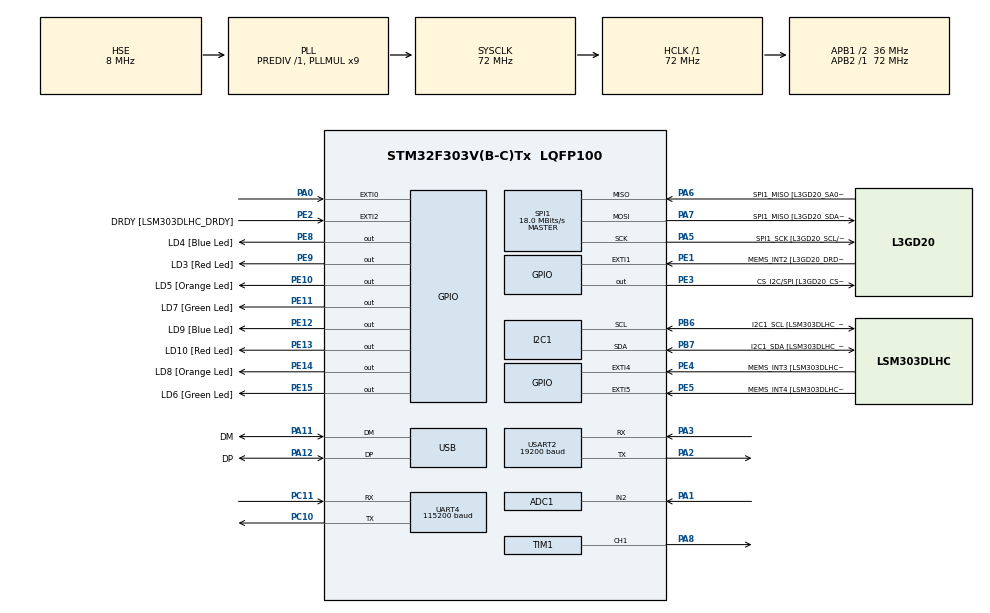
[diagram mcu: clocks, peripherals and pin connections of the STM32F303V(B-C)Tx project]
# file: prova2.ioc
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ADC1.Channel-0\#ChannelRegularConversion=ADC_CHANNEL_2
ADC1.NbrOfConversionFlag=1
ADC1.Offset-0\#ChannelRegularConversion=0
ADC1.OffsetNumber-0\#ChannelRegularConversion=ADC_OFFSET_NONE
ADC1.Rank-0\#ChannelRegularConversion=1
ADC1.SamplingTime-0\#ChannelRegularConversion=ADC_SAMPLETIME_1CYCLE_5
ADC1.master=1
I2C1.Timing=0x00201D2B
I2C1.Timing-I2C=0x2000090E
Mcu.Family=STM32F3
Mcu.Name=STM32F303V(B-C)Tx
Mcu.Package=LQFP100
NVIC.ADC1_2_IRQn=true\:0\:0\:false\:false\:true\:true\:true\:true
NVIC.EXTI0_IRQn=true\:0\:0\:false\:false\:true\:true\:true\:true
NVIC.PriorityGroup=NVIC_PRIORITYGROUP_0
NVIC.TIM4_IRQn=true\:0\:0\:false\:false\:true\:true\:true\:true
NVIC.UART4_IRQn=true\:0\:0\:false\:false\:true\:true\:true\:true
PA0.Signal=GPXTI0
PA1.Mode=IN2-Single-Ended
PA1.Signal=ADC1_IN2
PA11.GPIO_Label=DM
PA11.Mode=Device
PA11.Signal=USB_DM
PA12.GPIO_Label=DP
PA12.Mode=Device
PA12.Signal=USB_DP
PA13.GPIO_Label=SWDIO
PA13.Mode=Serial_Wire
PA13.Signal=SYS_JTMS-SWDIO
PA14.GPIO_Label=SWCLK
PA14.Mode=Serial_Wire
PA14.Signal=SYS_JTCK-SWCLK
PA2.Mode=Asynchronous
PA2.Signal=USART2_TX
PA3.Mode=Asynchronous
PA3.Signal=USART2_RX
PA5.GPIO_Label=SPI1_SCK [L3GD20_SCL/SPC]
PA5.Mode=Full_Duplex_Master
PA5.Signal=SPI1_SCK
PA6.GPIO_Label=SPI1_MISO [L3GD20_SA0/SDO]
PA6.Mode=Full_Duplex_Master
PA6.Signal=SPI1_MISO
PA7.GPIO_Label=SPI1_MISO [L3GD20_SDA/SDI/SDO]
PA7.Mode=Full_Duplex_Master
PA7.Signal=SPI1_MOSI
PA8.Signal=S_TIM1_CH1
PB3.GPIO_Label=SWO
PB3.Signal=SYS_JTDO-TRACESWO
PB6.GPIO_Label=I2C1_SCL [LSM303DLHC_SCL]
PB6.GPIO_Pu=GPIO_PULLUP
PB6.Mode=I2C
PB6.Signal=I2C1_SCL
PB7.GPIO_Label=I2C1_SDA [LSM303DLHC_SDA]
PB7.GPIO_Pu=GPIO_PULLUP
PB7.Mode=I2C
PB7.Signal=I2C1_SDA
PC10.Mode=Asynchronous
PC10.Signal=UART4_TX
PC11.Mode=Asynchronous
PC11.Signal=UART4_RX
PC14-OSC32_IN.GPIO_Label=OSC32_IN
PC14-OSC32_IN.Signal=RCC_OSC32_IN
PC15-OSC32_OUT.GPIO_Label=OSC32_OUT
PC15-OSC32_OUT.Signal=RCC_OSC32_OUT
PE1.GPIO_Label=MEMS_INT2 [L3GD20_DRDY/INT2]
PE1.GPIO_ModeDefaultEXTI=GPIO_MODE_EVT_RISING
PE1.Signal=GPXTI1
PE10.GPIO_Label=LD5 [Orange Led]
PE10.Signal=GPIO_Output
PE11.GPIO_Label=LD7 [Green Led]
PE11.Signal=GPIO_Output
PE12.GPIO_Label=LD9 [Blue Led]
PE12.Signal=GPIO_Output
PE13.GPIO_Label=LD10 [Red Led]
PE13.Signal=GPIO_Output
PE14.GPIO_Label=LD8 [Orange Led]
PE14.Signal=GPIO_Output
PE15.GPIO_Label=LD6 [Green Led]
PE15.Signal=GPIO_Output
PE2.GPIO_Label=DRDY [LSM303DLHC_DRDY]
PE2.GPIO_ModeDefaultEXTI=GPIO_MODE_EVT_RISING
PE2.Signal=GPXTI2
PE3.GPIO_Label=CS_I2C/SPI [L3GD20_CS_I2C/SPI]
PE3.Signal=GPIO_Output
PE4.GPIO_Label=MEMS_INT3 [LSM303DLHC_INT1]
PE4.GPIO_ModeDefaultEXTI=GPIO_MODE_EVT_RISING
PE4.Signal=GPXTI4
PE5.GPIO_Label=MEMS_INT4 [LSM303DLHC_INT2]
PE5.GPIO_ModeDefaultEXTI=GPIO_MODE_EVT_RISING
PE5.Signal=GPXTI5
PE8.GPIO_Label=LD4 [Blue Led]
PE8.Signal=GPIO_Output
PE9.GPIO_Label=LD3 [Red Led]
PE9.Signal=GPIO_Output
PF0-OSC_IN.GPIO_Label=OSC_IN
PF0-OSC_IN.Mode=HSE-External-Clock-Source
PF0-OSC_IN.Signal=RCC_OSC_IN
PF1-OSC_OUT.GPIO_Label=OSC_OUT
PF1-OSC_OUT.Signal=RCC_OSC_OUT
ProjectManager.HeapSize=0x200
ProjectManager.StackSize=0x400
ProjectManager.TargetToolchain=STM32CubeIDE
RCC.AHBFreq_Value=72000000
RCC.APB1CLKDivider=RCC_HCLK_DIV2
RCC.APB1Freq_Value=36000000
RCC.APB1TimFreq_Value=72000000
RCC.APB2Freq_Value=72000000
RCC.APB2TimFreq_Value=72000000
RCC.CortexFreq_Value=72000000
RCC.HCLKFreq_Value=72000000
RCC.HSE_VALUE=8000000
RCC.HSI_VALUE=8000000
RCC.LSE_VALUE=32768
RCC.PLLMUL=RCC_PLL_MUL9
RCC.PRESCALERUSB=RCC_USBCLKSOURCE_PLL_DIV1_5
RCC.SYSCLKFreq_VALUE=72000000
RCC.SYSCLKSourceVirtual=RCC_SYSCLKSOURCE_PLLCLK
RCC.USBFreq_Value=48000000
SH.S_TIM1_CH1.0=TIM1_CH1,PWM Generation1 CH1
SPI1.BaudRatePrescaler=SPI_BAUDRATEPRESCALER_4
SPI1.BaudRatePrescaler-Full_Duplex_Master=SPI_BAUDRATEPRESCALER_2
SPI1.CalculateBaudRate=18.0 MBits/s
SPI1.CalculateBaudRate-Full_Duplex_Master=24.0 MBits/s
SPI1.Direction=SPI_DIRECTION_2LINES
SPI1.Mode=SPI_MODE_MASTER
SPI1.Mode-Full_Duplex_Master=SPI_MODE_MASTER
SPI1.VirtualType=VM_MASTER
TIM1.Channel-PWM\ Generation1\ CH1=TIM_CHANNEL_1
TIM1.Period=19999
TIM1.Prescaler=71
TIM4.Period=999
TIM4.Prescaler=7199
UART4.BaudRate=115200
USART2.BaudRate=19200
USART2.VirtualMode-Asynchronous=VM_ASYNC
VP_TIM4_VS_ClockSourceINT.Mode=Internal
board=STM32F3DISCOVERY

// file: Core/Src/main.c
/* USER CODE BEGIN Header */
/**
  ******************************************************************************
  * @file           : main.c
  * @brief          : Main program body
  ******************************************************************************
  * @attention
  *
  * Copyright (c) 2025 STMicroelectronics.
  * All rights reserved.
  *
  * This software is licensed under terms that can be found in the LICENSE file
  * in the root directory of this software component.
  * If no LICENSE file comes with this software, it is provided AS-IS.
  *
  ******************************************************************************
  */
/* USER CODE END Header */
#include "main.h"

/* USER CODE BEGIN Includes */
#include <stdio.h>

#include <string.h>
/* USER CODE END Includes */

/* USER CODE BEGIN PD */

#define ACCESO 1
#define SPENTO 0

/* USER CODE END PD */

ADC_HandleTypeDef hadc1;

I2C_HandleTypeDef hi2c1;

SPI_HandleTypeDef hspi1;

TIM_HandleTypeDef htim1;
TIM_HandleTypeDef htim4;

UART_HandleTypeDef huart4;
UART_HandleTypeDef huart2;

PCD_HandleTypeDef hpcd_USB_FS;

/* USER CODE BEGIN PV */

#define RX_BUFFER_SIZE 100
uint8_t rx_buffer[RX_BUFFER_SIZE];
uint8_t rx_index = 0;
uint8_t rx_byte;

GPIO_PinState MODE = 0;
uint32_t adc_val = 0;
float voltage = 0.0f;
uint8_t pbuf = 0;
uint8_t psbuf = '2';
int spegni = 0;
int attesa_reset=0;

// stati dell'automa:
// "reset": stato iniziale; se ADC legge V > 1.0V, passa a "check".
//  "check": invia via UART il carattere '2' (psbuf) e accende LD9, poi si aspetta qualcosa via UART.
//  "aperto": il servo si muove a 120°; se V > 1.0V → si chiude (servo a 0°), poi si attende V < 0.5V per tornare a "reset".
char stato[] = "reset";

uint16_t led_pins[8] = {
    GPIO_PIN_8,   // LD4
    GPIO_PIN_9,   // LD3
    GPIO_PIN_10,  // LD5
    GPIO_PIN_11,  // LD7
    GPIO_PIN_12,  // LD9
    GPIO_PIN_13,  // LD10
    GPIO_PIN_14,  // LD8
    GPIO_PIN_15   // LD6
};

/* USER CODE END PV */

void SystemClock_Config(void);
static void MX_GPIO_Init(void);
static void MX_I2C1_Init(void);
static void MX_SPI1_Init(void);
static void MX_USB_PCD_Init(void);
static void MX_ADC1_Init(void);
static void MX_USART2_UART_Init(void);
static void MX_UART4_Init(void);
static void MX_TIM4_Init(void);
static void MX_TIM1_Init(void);
/* USER CODE BEGIN PFP */

void servo_set_angle(uint8_t angle)
{
    uint16_t pulse = 500 + (angle * 2000) / 180;  // 500â€“2500
    __HAL_TIM_SET_COMPARE(&htim1, TIM_CHANNEL_1, pulse);
}

void HAL_GPIO_EXTI_Callback(uint16_t GPIO_Pin){

		/*
		 *
		 * PREMENDO L'USER BOTTON RIPORTIAMO IL SISTEMA ALLO STATO RESET E ATTIVIAMO IL LED 3
		 * E RESETTIAMO IL VALORE DELL'ANGOLO DEL SERVO MOTORE
		 *
		 */

		strcpy(stato,"reset");
		servo_set_angle(0);

		//HAL_GPIO_WritePin(GPIOE, LD10_Pin, GPIO_PIN_RESET);

}

void HAL_UART_RxCpltCallback(UART_HandleTypeDef *huart){

	//SE TRAMITE UART4 RICEVO IL VALORE CHE MI ASPETTO
	//CAMBIO MODE, QUESTO FA LAMPEGGIARE IL LED PER 2 SECONDI GRAZIE AL CODICE INSERITO NEL MAIN

	//HAL_GPIO_WritePin(GPIOE, LD10_Pin, GPIO_PIN_SET);
	//spegni = 1;

	if (huart == &huart4){

		if(pbuf=='Y'){
			MODE = 1;
			strcpy(stato, "aperto"); //ho aperto, aspetto che l'utente si riavvicini per chiudere
			//facciamo girare il motore
			servo_set_angle(120);
		}
		else{
			MODE = 2;
			strcpy(stato, "reset"); //non apro e ritorno allo stato iniziale.

		}

		HAL_UART_Receive_IT(&huart4,&pbuf, 1); //RIATTIVO INTERRUZIONI IN RICEZIONE

	}

}

// ogni 100ms il timer interrompe e avvia conversione dell'ADC
void HAL_TIM_PeriodElapsedCallback(TIM_HandleTypeDef *htim) {
    if (htim->Instance == TIM4) {
        HAL_ADC_Start_IT(&hadc1);  // Avvio conversione non bloccante
    }
}

void HAL_ADC_ConvCpltCallback(ADC_HandleTypeDef* hadc) {
    if (hadc->Instance == ADC1) {
        uint32_t adc_val = HAL_ADC_GetValue(hadc);
        float voltage = (adc_val / 4095.0f) * 3.3f;

        // Esegui la logica di stato qui (eviti blocchi nell'ISR timer)
        switch (stato[0]) {
            case 'r':

                // soglia oltre 1V -> stiamo rilevando presenza da 5cm in poi
                if (voltage > 1.0f) {
                    strcpy(stato, "check");
                    HAL_GPIO_WritePin(GPIOE, LD9_Pin, GPIO_PIN_SET);

                    // invio carattere tramite uart per avviare il riconoscimento tramite fotocamera
                    HAL_UART_Transmit(&huart4, &psbuf, 1, HAL_MAX_DELAY);
                }
                break;

            case 'c':

                // se ho nuova interruzione e conversione ma sono ancora in stato check non faccio nulla (evitiamo invii multipli alla esp32)
                HAL_GPIO_WritePin(GPIOE, LD9_Pin, GPIO_PIN_RESET);
                break;

                // caso in cui lo stato risulta "aperto"
            case 'a':
                if (!attesa_reset) {
                    if (voltage > 1.0f) {

                        // mi avvicino e faccio chiudere la scatola
                        servo_set_angle(0);
                        attesa_reset = 1;  // ora aspettiamo che la tensione scenda
                    }
                } else {

                    // quando mi sono allontanato torno in stato di reset
                    if (voltage < 0.5f) {
                        attesa_reset = 0;
                        strcpy(stato, "reset");  // solo ora si può resettare
                    }
                }
                break;

            default:
                strcpy(stato, "reset");
                HAL_GPIO_WritePin(GPIOE, LD9_Pin, GPIO_PIN_RESET);
                break;
        }
    }
}

/* USER CODE END PFP */

int main(void)
{

  /* MCU Configuration--------------------------------------------------------*/

  /* Reset of all peripherals, Initializes the Flash interface and the Systick. */
  HAL_Init();

  /* Configure the system clock */
  SystemClock_Config();

  /* Initialize all configured peripherals */
  MX_GPIO_Init();
  MX_I2C1_Init();
  MX_SPI1_Init();
  MX_USB_PCD_Init();
  MX_ADC1_Init();
  MX_USART2_UART_Init();
  MX_UART4_Init();
  MX_TIM4_Init();
  MX_TIM1_Init();
  /* USER CODE BEGIN 2 */
  HAL_TIM_PWM_Start(&htim1, TIM_CHANNEL_1);  // Avvia PWM

HAL_TIM_Base_Start_IT(&htim4);
HAL_UART_Receive_IT(&huart4, &pbuf, 1);
  /* USER CODE END 2 */

  /* Infinite loop */
  /* USER CODE BEGIN WHILE */
  while (1)
  {
	  //servo_set_angle(0);

	  if (MODE == 1) {
	      MODE = 0;
	      HAL_GPIO_WritePin(GPIOE, LD6_Pin, GPIO_PIN_SET);

	      HAL_Delay(2000);
	      HAL_GPIO_WritePin(GPIOE, LD6_Pin, GPIO_PIN_RESET);
	  }
	  if(MODE==2){
		  MODE = 0;
			HAL_GPIO_WritePin(GPIOE, LD3_Pin, ACCESO);

			      HAL_Delay(2000);
			     HAL_GPIO_WritePin(GPIOE, LD3_Pin, SPENTO);
	  }

	  if (spegni == 1){
		  spegni = 0;
		  HAL_Delay(500);
		  HAL_GPIO_WritePin(GPIOE, LD10_Pin, GPIO_PIN_RESET);
	  }

    /* USER CODE END WHILE */

  }
}

void SystemClock_Config(void)
{
  RCC_OscInitTypeDef RCC_OscInitStruct = {0};
  RCC_ClkInitTypeDef RCC_ClkInitStruct = {0};
  RCC_PeriphCLKInitTypeDef PeriphClkInit = {0};

  /** Initializes the RCC Oscillators according to the specified parameters
  * in the RCC_OscInitTypeDef structure.
  */
  RCC_OscInitStruct.OscillatorType = RCC_OSCILLATORTYPE_HSI|RCC_OSCILLATORTYPE_HSE;
  RCC_OscInitStruct.HSEState = RCC_HSE_BYPASS;
  RCC_OscInitStruct.HSEPredivValue = RCC_HSE_PREDIV_DIV1;
  RCC_OscInitStruct.HSIState = RCC_HSI_ON;
  RCC_OscInitStruct.HSICalibrationValue = RCC_HSICALIBRATION_DEFAULT;
  RCC_OscInitStruct.PLL.PLLState = RCC_PLL_ON;
  RCC_OscInitStruct.PLL.PLLSource = RCC_PLLSOURCE_HSE;
  RCC_OscInitStruct.PLL.PLLMUL = RCC_PLL_MUL9;
  if (HAL_RCC_OscConfig(&RCC_OscInitStruct) != HAL_OK)
  {
    Error_Handler();
  }

  /** Initializes the CPU, AHB and APB buses clocks
  */
  RCC_ClkInitStruct.ClockType = RCC_CLOCKTYPE_HCLK|RCC_CLOCKTYPE_SYSCLK
                              |RCC_CLOCKTYPE_PCLK1|RCC_CLOCKTYPE_PCLK2;
  RCC_ClkInitStruct.SYSCLKSource = RCC_SYSCLKSOURCE_PLLCLK;
  RCC_ClkInitStruct.AHBCLKDivider = RCC_SYSCLK_DIV1;
  RCC_ClkInitStruct.APB1CLKDivider = RCC_HCLK_DIV2;
  RCC_ClkInitStruct.APB2CLKDivider = RCC_HCLK_DIV1;

  if (HAL_RCC_ClockConfig(&RCC_ClkInitStruct, FLASH_LATENCY_2) != HAL_OK)
  {
    Error_Handler();
  }
  PeriphClkInit.PeriphClockSelection = RCC_PERIPHCLK_USB|RCC_PERIPHCLK_USART2
                              |RCC_PERIPHCLK_UART4|RCC_PERIPHCLK_I2C1
                              |RCC_PERIPHCLK_TIM1|RCC_PERIPHCLK_ADC12;
  PeriphClkInit.Usart2ClockSelection = RCC_USART2CLKSOURCE_PCLK1;
  PeriphClkInit.Uart4ClockSelection = RCC_UART4CLKSOURCE_PCLK1;
  PeriphClkInit.Adc12ClockSelection = RCC_ADC12PLLCLK_DIV1;
  PeriphClkInit.I2c1ClockSelection = RCC_I2C1CLKSOURCE_HSI;
  PeriphClkInit.USBClockSelection = RCC_USBCLKSOURCE_PLL_DIV1_5;
  PeriphClkInit.Tim1ClockSelection = RCC_TIM1CLK_HCLK;
  if (HAL_RCCEx_PeriphCLKConfig(&PeriphClkInit) != HAL_OK)
  {
    Error_Handler();
  }
}

static void MX_ADC1_Init(void)
{

  ADC_MultiModeTypeDef multimode = {0};
  ADC_ChannelConfTypeDef sConfig = {0};

  /** Common config
  */
  hadc1.Instance = ADC1;
  hadc1.Init.ClockPrescaler = ADC_CLOCK_ASYNC_DIV1;
  hadc1.Init.Resolution = ADC_RESOLUTION_12B;
  hadc1.Init.ScanConvMode = ADC_SCAN_DISABLE;
  hadc1.Init.ContinuousConvMode = DISABLE;
  hadc1.Init.DiscontinuousConvMode = DISABLE;
  hadc1.Init.ExternalTrigConvEdge = ADC_EXTERNALTRIGCONVEDGE_NONE;
  hadc1.Init.ExternalTrigConv = ADC_SOFTWARE_START;
  hadc1.Init.DataAlign = ADC_DATAALIGN_RIGHT;
  hadc1.Init.NbrOfConversion = 1;
  hadc1.Init.DMAContinuousRequests = DISABLE;
  hadc1.Init.EOCSelection = ADC_EOC_SINGLE_CONV;
  hadc1.Init.LowPowerAutoWait = DISABLE;
  hadc1.Init.Overrun = ADC_OVR_DATA_OVERWRITTEN;
  if (HAL_ADC_Init(&hadc1) != HAL_OK)
  {
    Error_Handler();
  }

  /** Configure the ADC multi-mode
  */
  multimode.Mode = ADC_MODE_INDEPENDENT;
  if (HAL_ADCEx_MultiModeConfigChannel(&hadc1, &multimode) != HAL_OK)
  {
    Error_Handler();
  }

  /** Configure Regular Channel
  */
  sConfig.Channel = ADC_CHANNEL_2;
  sConfig.Rank = ADC_REGULAR_RANK_1;
  sConfig.SingleDiff = ADC_SINGLE_ENDED;
  sConfig.SamplingTime = ADC_SAMPLETIME_1CYCLE_5;
  sConfig.OffsetNumber = ADC_OFFSET_NONE;
  sConfig.Offset = 0;
  if (HAL_ADC_ConfigChannel(&hadc1, &sConfig) != HAL_OK)
  {
    Error_Handler();
  }

}

static void MX_I2C1_Init(void)
{

  hi2c1.Instance = I2C1;
  hi2c1.Init.Timing = 0x00201D2B;
  hi2c1.Init.OwnAddress1 = 0;
  hi2c1.Init.AddressingMode = I2C_ADDRESSINGMODE_7BIT;
  hi2c1.Init.DualAddressMode = I2C_DUALADDRESS_DISABLE;
  hi2c1.Init.OwnAddress2 = 0;
  hi2c1.Init.OwnAddress2Masks = I2C_OA2_NOMASK;
  hi2c1.Init.GeneralCallMode = I2C_GENERALCALL_DISABLE;
  hi2c1.Init.NoStretchMode = I2C_NOSTRETCH_DISABLE;
  if (HAL_I2C_Init(&hi2c1) != HAL_OK)
  {
    Error_Handler();
  }

  /** Configure Analogue filter
  */
  if (HAL_I2CEx_ConfigAnalogFilter(&hi2c1, I2C_ANALOGFILTER_ENABLE) != HAL_OK)
  {
    Error_Handler();
  }

  /** Configure Digital filter
  */
  if (HAL_I2CEx_ConfigDigitalFilter(&hi2c1, 0) != HAL_OK)
  {
    Error_Handler();
  }

}

static void MX_SPI1_Init(void)
{

  /* SPI1 parameter configuration*/
  hspi1.Instance = SPI1;
  hspi1.Init.Mode = SPI_MODE_MASTER;
  hspi1.Init.Direction = SPI_DIRECTION_2LINES;
  hspi1.Init.DataSize = SPI_DATASIZE_4BIT;
  hspi1.Init.CLKPolarity = SPI_POLARITY_LOW;
  hspi1.Init.CLKPhase = SPI_PHASE_1EDGE;
  hspi1.Init.NSS = SPI_NSS_SOFT;
  hspi1.Init.BaudRatePrescaler = SPI_BAUDRATEPRESCALER_4;
  hspi1.Init.FirstBit = SPI_FIRSTBIT_MSB;
  hspi1.Init.TIMode = SPI_TIMODE_DISABLE;
  hspi1.Init.CRCCalculation = SPI_CRCCALCULATION_DISABLE;
  hspi1.Init.CRCPolynomial = 7;
  hspi1.Init.CRCLength = SPI_CRC_LENGTH_DATASIZE;
  hspi1.Init.NSSPMode = SPI_NSS_PULSE_ENABLE;
  if (HAL_SPI_Init(&hspi1) != HAL_OK)
  {
    Error_Handler();
  }

}

static void MX_TIM1_Init(void)
{

  TIM_MasterConfigTypeDef sMasterConfig = {0};
  TIM_OC_InitTypeDef sConfigOC = {0};
  TIM_BreakDeadTimeConfigTypeDef sBreakDeadTimeConfig = {0};

  htim1.Instance = TIM1;
  htim1.Init.Prescaler = 71;
  htim1.Init.CounterMode = TIM_COUNTERMODE_UP;
  htim1.Init.Period = 19999;
  htim1.Init.ClockDivision = TIM_CLOCKDIVISION_DIV1;
  htim1.Init.RepetitionCounter = 0;
  htim1.Init.AutoReloadPreload = TIM_AUTORELOAD_PRELOAD_DISABLE;
  if (HAL_TIM_PWM_Init(&htim1) != HAL_OK)
  {
    Error_Handler();
  }
  sMasterConfig.MasterOutputTrigger = TIM_TRGO_RESET;
  sMasterConfig.MasterOutputTrigger2 = TIM_TRGO2_RESET;
  sMasterConfig.MasterSlaveMode = TIM_MASTERSLAVEMODE_DISABLE;
  if (HAL_TIMEx_MasterConfigSynchronization(&htim1, &sMasterConfig) != HAL_OK)
  {
    Error_Handler();
  }
  sConfigOC.OCMode = TIM_OCMODE_PWM1;
  sConfigOC.Pulse = 0;
  sConfigOC.OCPolarity = TIM_OCPOLARITY_HIGH;
  sConfigOC.OCNPolarity = TIM_OCNPOLARITY_HIGH;
  sConfigOC.OCFastMode = TIM_OCFAST_DISABLE;
  sConfigOC.OCIdleState = TIM_OCIDLESTATE_RESET;
  sConfigOC.OCNIdleState = TIM_OCNIDLESTATE_RESET;
  if (HAL_TIM_PWM_ConfigChannel(&htim1, &sConfigOC, TIM_CHANNEL_1) != HAL_OK)
  {
    Error_Handler();
  }
  sBreakDeadTimeConfig.OffStateRunMode = TIM_OSSR_DISABLE;
  sBreakDeadTimeConfig.OffStateIDLEMode = TIM_OSSI_DISABLE;
  sBreakDeadTimeConfig.LockLevel = TIM_LOCKLEVEL_OFF;
  sBreakDeadTimeConfig.DeadTime = 0;
  sBreakDeadTimeConfig.BreakState = TIM_BREAK_DISABLE;
  sBreakDeadTimeConfig.BreakPolarity = TIM_BREAKPOLARITY_HIGH;
  sBreakDeadTimeConfig.BreakFilter = 0;
  sBreakDeadTimeConfig.Break2State = TIM_BREAK2_DISABLE;
  sBreakDeadTimeConfig.Break2Polarity = TIM_BREAK2POLARITY_HIGH;
  sBreakDeadTimeConfig.Break2Filter = 0;
  sBreakDeadTimeConfig.AutomaticOutput = TIM_AUTOMATICOUTPUT_DISABLE;
  if (HAL_TIMEx_ConfigBreakDeadTime(&htim1, &sBreakDeadTimeConfig) != HAL_OK)
  {
    Error_Handler();
  }
  HAL_TIM_MspPostInit(&htim1);

}

static void MX_TIM4_Init(void)
{

  TIM_ClockConfigTypeDef sClockSourceConfig = {0};
  TIM_MasterConfigTypeDef sMasterConfig = {0};

  htim4.Instance = TIM4;
  htim4.Init.Prescaler = 7199;
  htim4.Init.CounterMode = TIM_COUNTERMODE_UP;
  htim4.Init.Period = 999;
  htim4.Init.ClockDivision = TIM_CLOCKDIVISION_DIV1;
  htim4.Init.AutoReloadPreload = TIM_AUTORELOAD_PRELOAD_DISABLE;
  if (HAL_TIM_Base_Init(&htim4) != HAL_OK)
  {
    Error_Handler();
  }
  sClockSourceConfig.ClockSource = TIM_CLOCKSOURCE_INTERNAL;
  if (HAL_TIM_ConfigClockSource(&htim4, &sClockSourceConfig) != HAL_OK)
  {
    Error_Handler();
  }
  sMasterConfig.MasterOutputTrigger = TIM_TRGO_RESET;
  sMasterConfig.MasterSlaveMode = TIM_MASTERSLAVEMODE_DISABLE;
  if (HAL_TIMEx_MasterConfigSynchronization(&htim4, &sMasterConfig) != HAL_OK)
  {
    Error_Handler();
  }

}

static void MX_UART4_Init(void)
{

  huart4.Instance = UART4;
  huart4.Init.BaudRate = 115200;
  huart4.Init.WordLength = UART_WORDLENGTH_8B;
  huart4.Init.StopBits = UART_STOPBITS_1;
  huart4.Init.Parity = UART_PARITY_NONE;
  huart4.Init.Mode = UART_MODE_TX_RX;
  huart4.Init.HwFlowCtl = UART_HWCONTROL_NONE;
  huart4.Init.OverSampling = UART_OVERSAMPLING_16;
  huart4.Init.OneBitSampling = UART_ONE_BIT_SAMPLE_DISABLE;
  huart4.AdvancedInit.AdvFeatureInit = UART_ADVFEATURE_NO_INIT;
  if (HAL_UART_Init(&huart4) != HAL_OK)
  {
    Error_Handler();
  }

}

static void MX_USART2_UART_Init(void)
{

  huart2.Instance = USART2;
  huart2.Init.BaudRate = 19200;
  huart2.Init.WordLength = UART_WORDLENGTH_8B;
  huart2.Init.StopBits = UART_STOPBITS_1;
  huart2.Init.Parity = UART_PARITY_NONE;
  huart2.Init.Mode = UART_MODE_TX_RX;
  huart2.Init.HwFlowCtl = UART_HWCONTROL_NONE;
  huart2.Init.OverSampling = UART_OVERSAMPLING_16;
  huart2.Init.OneBitSampling = UART_ONE_BIT_SAMPLE_DISABLE;
  huart2.AdvancedInit.AdvFeatureInit = UART_ADVFEATURE_NO_INIT;
  if (HAL_UART_Init(&huart2) != HAL_OK)
  {
    Error_Handler();
  }

}

static void MX_USB_PCD_Init(void)
{

  hpcd_USB_FS.Instance = USB;
  hpcd_USB_FS.Init.dev_endpoints = 8;
  hpcd_USB_FS.Init.speed = PCD_SPEED_FULL;
  hpcd_USB_FS.Init.phy_itface = PCD_PHY_EMBEDDED;
  hpcd_USB_FS.Init.low_power_enable = DISABLE;
  hpcd_USB_FS.Init.battery_charging_enable = DISABLE;
  if (HAL_PCD_Init(&hpcd_USB_FS) != HAL_OK)
  {
    Error_Handler();
  }

}

static void MX_GPIO_Init(void)
{
  GPIO_InitTypeDef GPIO_InitStruct = {0};

  /* GPIO Ports Clock Enable */
  __HAL_RCC_GPIOE_CLK_ENABLE();
  __HAL_RCC_GPIOC_CLK_ENABLE();
  __HAL_RCC_GPIOF_CLK_ENABLE();
  __HAL_RCC_GPIOA_CLK_ENABLE();
  __HAL_RCC_GPIOB_CLK_ENABLE();

  /*Configure GPIO pin Output Level */
  HAL_GPIO_WritePin(GPIOE, CS_I2C_SPI_Pin|LD4_Pin|LD3_Pin|LD5_Pin
                          |LD7_Pin|LD9_Pin|LD10_Pin|LD8_Pin
                          |LD6_Pin, GPIO_PIN_RESET);

  /*Configure GPIO pins : DRDY_Pin MEMS_INT3_Pin MEMS_INT4_Pin MEMS_INT2_Pin */
  GPIO_InitStruct.Pin = DRDY_Pin|MEMS_INT3_Pin|MEMS_INT4_Pin|MEMS_INT2_Pin;
  GPIO_InitStruct.Mode = GPIO_MODE_EVT_RISING;
  GPIO_InitStruct.Pull = GPIO_NOPULL;
  HAL_GPIO_Init(GPIOE, &GPIO_InitStruct);

  /*Configure GPIO pins : CS_I2C_SPI_Pin LD4_Pin LD3_Pin LD5_Pin
                           LD7_Pin LD9_Pin LD10_Pin LD8_Pin
                           LD6_Pin */
  GPIO_InitStruct.Pin = CS_I2C_SPI_Pin|LD4_Pin|LD3_Pin|LD5_Pin
                          |LD7_Pin|LD9_Pin|LD10_Pin|LD8_Pin
                          |LD6_Pin;
  GPIO_InitStruct.Mode = GPIO_MODE_OUTPUT_PP;
  GPIO_InitStruct.Pull = GPIO_NOPULL;
  GPIO_InitStruct.Speed = GPIO_SPEED_FREQ_LOW;
  HAL_GPIO_Init(GPIOE, &GPIO_InitStruct);

  /*Configure GPIO pin : PA0 */
  GPIO_InitStruct.Pin = GPIO_PIN_0;
  GPIO_InitStruct.Mode = GPIO_MODE_IT_RISING;
  GPIO_InitStruct.Pull = GPIO_NOPULL;
  HAL_GPIO_Init(GPIOA, &GPIO_InitStruct);

  /* EXTI interrupt init*/
  HAL_NVIC_SetPriority(EXTI0_IRQn, 0, 0);
  HAL_NVIC_EnableIRQ(EXTI0_IRQn);

}

void Error_Handler(void)
{
  __disable_irq();
  while (1)
  {
  }
}
